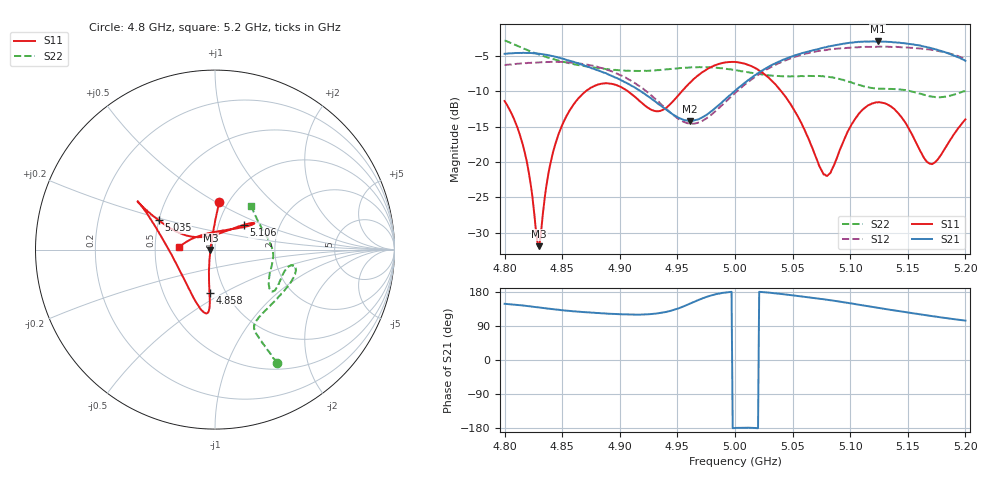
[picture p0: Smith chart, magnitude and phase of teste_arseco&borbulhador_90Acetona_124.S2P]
! Network Analyzer HP8722D
! Hewlett-Packard
! Data name: Linha & Wilkinson
! Saver's name: Rodrigo Anjos
! Comments: Teste da utilização de aquisição
! continua pelo VNA HP8722D
! Time and date: 17/4/2025 12:05
!  Frequency  S11  S21  S12  S22
# HZ  S  MA R 50
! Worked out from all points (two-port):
!   401 points, 4.8 GHz to 5.2 GHz, reference 50 ohm
!   highest |S21| = -2.99 dB at 5.124 GHz (marker M1); lowest = -14.2 dB at 4.961 GHz (marker M2)
!   |S21| within 3 dB of the highest: start of sweep to 4.862 GHz; 5.036 GHz to end of sweep
!   lowest |S11| = -31.9 dB at 4.83 GHz (marker M3), VSWR 1.05, Z = 47.5 - j0.197 ohm
!   |S11| at or under -10 dB: start of sweep to 4.871 GHz; 4.907 GHz to 4.954 GHz (47.21 MHz wide, 0.958 % of centre); 5.04 GHz to end of sweep
!   |S22| runs from -10.9 to -2.9 dB; largest |S21 - S12| = 1.3
!   S11 on the Smith chart (normalised r, x): 4.8 GHz: 0.91, +0.52; 4.858 GHz: 0.84, -0.43; 5.035 GHz: 0.50, +0.19; 5.106 GHz: 1.32, +0.38; 5.2 GHz: 0.67, +0.02
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4.8e9  0.2689 84.8  0.5792 148.3  0.4842 -112.7  0.7194 -61.2
4.817e9  0.1211 93.3  0.5874 143.4  0.4968 -112.4  0.628 -62.4
4.822e9  0.075 101.1  0.5871 141.6  0.4993 -112.1  0.6057 -62.7
4.828e9  0.02907 144.9  0.5832 139.4  0.5025 -111.6  0.5802 -63.3
4.83e9  0.02549 -175.3  0.5799 138.6  0.5038 -111.6  0.5714 -63.1
4.841e9  0.1079 -107.8  0.5585 134.4  0.508 -111.4  0.5352 -63.6
4.858e9  0.2409 -97.2  0.5135 129.1  0.5017 -111.2  0.4935 -63.7
4.867e9  0.2978 -95.5  0.4861 126.7  0.4922 -111.6  0.4783 -62.7
4.898e9  0.3461 -102.4  0.3888 120.9  0.4184 -114.9  0.4445 -53.9
4.934e9  0.2285 -156.5  0.2548 123.4  0.2646 -114.8  0.4443 -33.5
4.961e9  0.3629 158.2  0.195 148.8  0.1861 -88.4  0.4644 -19.9
5e9  0.5075 148.2  0.3172 -179.5  0.3069 -49.7  0.4441 -11.4
5.035e9  0.3534 152.5  0.4966 175.9  0.4838 -46.3  0.4046 -18.1
5.052e9  0.2276 155.0  0.5652 169.9  0.5507 -47.9  0.4022 -25.5
5.067e9  0.1265 146.5  0.6117 164.2  0.5948 -50.1  0.4038 -31.9
5.075e9  0.08738 124.4  0.6349 161.1  0.6105 -51.6  0.4026 -34.5
5.081e9  0.08111 95.5  0.6529 158.4  0.6208 -52.8  0.3986 -35.8
5.106e9  0.2099 40.6  0.7003 146.8  0.6424 -58.7  0.3523 -31.9
5.124e9  0.2632 34.0  0.7089 137.7  0.6494 -64.1  0.3291 -18.7
5.134e9  0.2505 33.8  0.7018 132.9  0.6482 -67.5  0.3277 -10.8
5.17e9  0.09718 100.0  0.6348 116.4  0.619 -80.0  0.2901 20.0
5.2e9  0.1997 175.5  0.5167 104.0  0.5323 -89.8  0.3165 50.2
